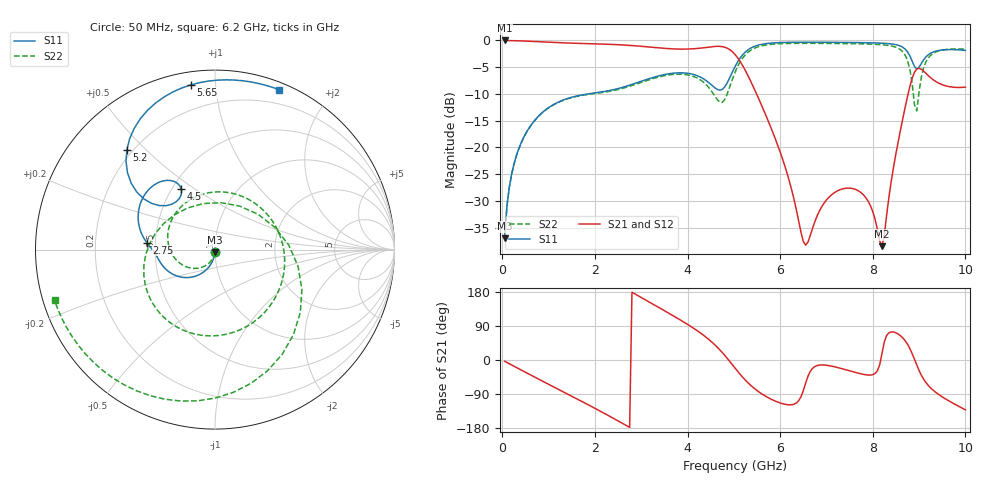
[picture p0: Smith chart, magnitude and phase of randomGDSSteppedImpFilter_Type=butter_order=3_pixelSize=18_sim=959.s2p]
! freq	dB(S11)	phase(S11)	dB(S12)	phase(S12)
!  dB(S21)	phase(S21)	dB(S22)	phase(S22)
!S-par simulation data
#  GHz  S  DB  R 50
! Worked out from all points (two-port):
!   200 points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, 50 MHz to 10 GHz, reference 50 ohm
!   highest |S21| = -0.01 dB at 50 MHz (marker M1); lowest = -38.5 dB at 8.2 GHz (marker M2)
!   |S21| within 3 dB of the highest: start of sweep to 5.061 GHz
!   lowest |S11| = -37.0 dB at 50 MHz (marker M3), VSWR 1.03, Z = 49.9 - j1.42 ohm
!   |S11| at or under -10 dB: start of sweep to 1.855 GHz
!   |S22| runs from -37.0 to -0.5 dB; largest |S21 - S12| = 0
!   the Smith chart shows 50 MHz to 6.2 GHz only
!   S11 on the Smith chart (normalised r, x): 50 MHz: 1.00, -0.03; 2.75 GHz: 0.45, +0.04; 4.5 GHz: 0.55, +0.44; 5.2 GHz: 0.18, +0.44; 5.65 GHz: 0.07, +0.86; 6.2 GHz: 0.07, +1.48
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0.05  -36.95 -91.9  -0.01 -3.3  -0.01 -3.3  -36.99 -93.5
0.2  -25.08 -100.2  -0.04 -13.1  -0.04 -13.1  -25.10 -105.9
0.5  -17.49 -115.6  -0.12 -32.4  -0.12 -32.4  -17.52 -130.0
1.75  -10.15 -165.8  -0.58 -111.4  -0.58 -111.4  -10.23 122.0
2.75  -8.36 174.2  -0.93 -177.8  -0.93 -177.8  -8.56 9.3
3.4  -6.58 155.9  -1.41 137.2  -1.41 137.2  -6.79 -62.2
3.95  -6.09 134.4  -1.63 97.8  -1.63 97.8  -6.37 -118.2
4.5  -8.20 119.0  -1.20 50.0  -1.20 50.0  -9.27 164.8
4.8  -8.72 138.1  -1.26 12.8  -1.26 12.8  -11.10 60.5
5.05  -4.50 141.6  -2.88 -25.1  -2.88 -25.1  -5.47 -24.5
5.2  -2.59 131.5  -4.86 -46.7  -4.86 -46.7  -3.18 -57.3
5.65  -0.65 98.3  -13.15 -93.0  -13.15 -93.0  -0.92 -119.0
6.2  -0.36 68.1  -26.34 -118.3  -26.34 -118.3  -0.56 -162.5
6.5  -0.34 54.1  -37.58 -81.0  -37.58 -81.0  -0.54 178.9
6.7  -0.34 45.3  -35.11 -22.0  -35.11 -22.0  -0.54 167.3
7.6  -0.39 7.9  -27.77 -32.0  -27.77 -32.0  -0.62 116.9
8.2  -0.52 -17.1  -38.45 17.6  -38.45 17.6  -0.81 79.1
8.35  -0.61 -24.1  -29.22 71.9  -29.22 71.9  -0.96 67.6
8.7  -1.63 -44.9  -12.46 50.7  -12.46 50.7  -2.77 30.3
8.9  -4.86 -48.4  -5.96 2.1  -5.96 2.1  -11.97 21.0
9.25  -2.38 -37.7  -6.97 -73.7  -6.97 -73.7  -2.77 53.1
10  -1.86 -71.5  -8.73 -131.5  -8.73 -131.5  -1.62 -11.5
